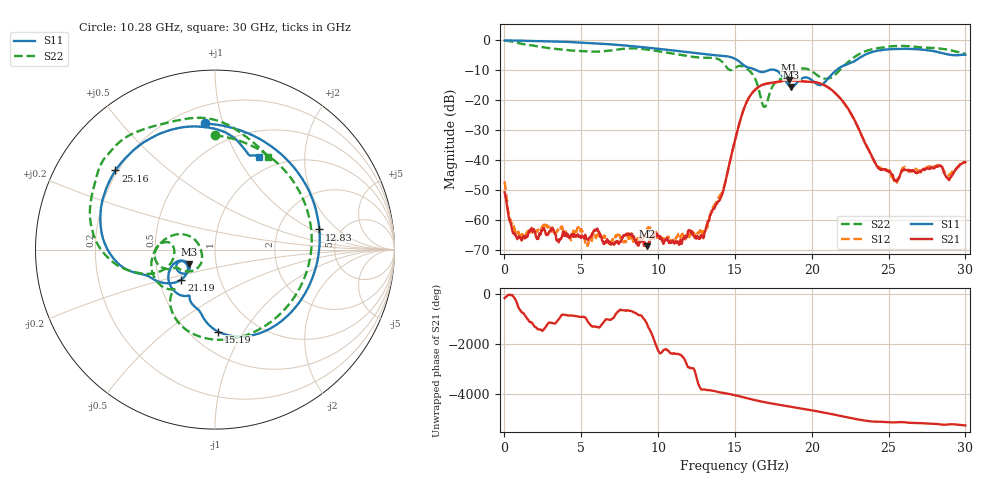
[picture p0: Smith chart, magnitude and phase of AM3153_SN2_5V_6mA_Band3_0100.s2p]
!Agilent Technologies,E8364B,MY43040894,A.07.50.67
!Agilent E8364B: A.07.50.67
!Date: Wednesday, May 13, 2020 06:21:19
!Correction: S11(Full 2 Port(1,2))
!S21(Full 2 Port(1,2))
!S12(Full 2 Port(1,2))
!S22(Full 2 Port(1,2))
!S2P File: Measurements: S11, S21, S12, S22:
# Hz S  dB  R 50
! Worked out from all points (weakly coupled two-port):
!   1601 points, 10 MHz to 30 GHz, reference 50 ohm
!   highest |S21| = -13.34 dB at 18.55 GHz (marker M1); lowest = -68.7 dB at 9.269 GHz (marker M2)
!   lowest |S11| = -15.6 dB at 18.68 GHz (marker M3), VSWR 1.40, Z = 36.9 - j6.21 ohm
!   |S11| at or under -10 dB: 16.39 GHz to 17.21 GHz (817.3 MHz wide, 4.86 % of centre); 17.65 GHz to 21.61 GHz (3.958 GHz wide, 20.2 % of centre)
!   |S22| runs from -22.3 to -0.1 dB; largest |S21 - S12| = 0.0067
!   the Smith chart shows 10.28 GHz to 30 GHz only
!   S11 on the Smith chart (normalised r, x): 10.28 GHz: 0.31, +0.88; 12.83 GHz: 3.46, +1.19; 15.19 GHz: 0.67, -0.78; 21.19 GHz: 0.65, -0.23; 25.16 GHz: 0.19, +0.34; 30 GHz: 0.80, +1.23
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1e7  -0.12 -2.0  -50.72 -166.8  -47.13 61.0  -0.11 -5.0
1.153369e9  -0.18 -33.3  -66.36 -27.7  -64.70 -37.3  -1.25 -79.5
2.577894e9  -0.31 -72.6  -62.77 39.9  -61.55 -52.3  -2.42 -157.6
5.014581e9  -0.80 -134.7  -65.61 170.5  -63.00 171.4  -3.64 87.0
6.476594e9  -1.24 -169.8  -67.95 -30.9  -65.68 -40.4  -3.69 -3.2
7.544988e9  -1.65 164.8  -67.43 94.6  -66.23 -9.9  -2.99 -89.3
8.4072e9  -2.04 143.8  -65.44 -15.6  -67.27 -114.8  -2.73 -157.8
9.269412e9  -2.48 121.8  -68.74 -98.2  -62.94 -177.9  -3.12 145.9
1.001916e10  -2.88 101.7  -65.46 -113.4  -65.88 120.1  -3.69 104.0
1.028158e10  -3.04 94.4  -66.68 -129.2  -67.24 -136.9  -3.92 90.1
1.159364e10  -3.80 54.4  -66.47 16.6  -64.58 115.2  -5.06 23.4
1.283072e10  -4.55 10.9  -65.38 158.5  -64.11 125.5  -5.84 -42.9
1.5005e10  -6.21 -79.2  -33.36 -71.1  -33.37 -69.9  -9.25 -140.7
1.519244e10  -6.78 -87.6  -29.59 -96.7  -29.56 -96.0  -8.72 -149.3
1.691686e10  -10.55 -120.1  -14.65 14.4  -14.70 14.4  -22.27 -168.1
1.854757e10  -15.26 -156.3  -13.34 -161.0  -13.39 -160.2  -11.85 -155.8
1.867878e10  -15.59 -150.5  -13.35 -174.9  -13.39 -174.1  -11.40 -156.4
2.000958e10  -13.35 -161.0  -13.92 48.2  -13.96 48.9  -10.34 173.7
2.119044e10  -12.02 -138.3  -16.19 -88.4  -16.22 -87.8  -12.64 -170.0
2.501416e10  -3.05 145.0  -44.03 -65.4  -43.36 -62.8  -2.16 147.2
2.516411e10  -2.99 141.6  -44.45 -69.0  -45.41 -71.6  -2.05 144.3
3e10  -4.84 64.7  -40.66 167.2  -40.79 165.3  -4.51 60.3
